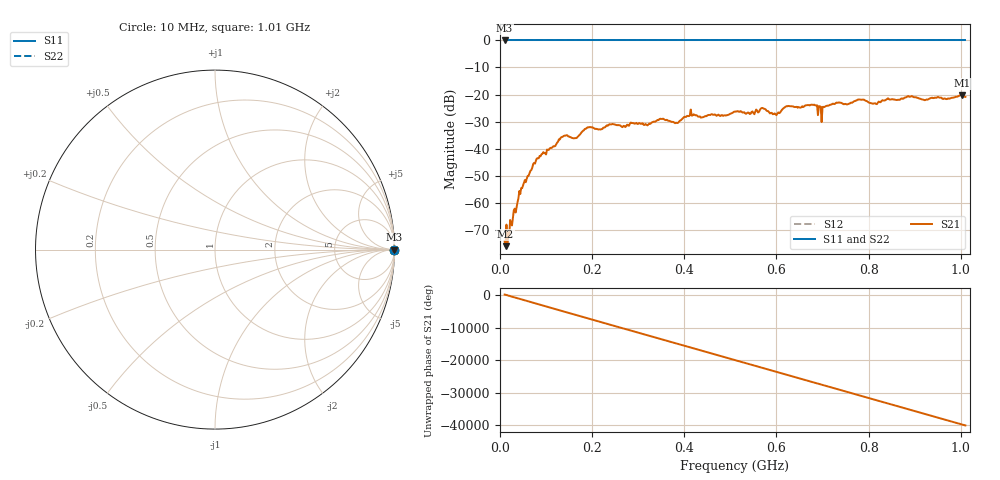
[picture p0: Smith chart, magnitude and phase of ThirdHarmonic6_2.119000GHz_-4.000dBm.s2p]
! 8/17/2025 1:19:52 AM
! C:\ANRITSUVNA\TEMP\TEMP.S2P
! CHANNEL.1
! TR.MEASUREMENT
! RAW.DATA
! RF.CORRECTION.OFF
! AVERAGING.OFF
! IF.BANDWIDTH: 5KHZ
! SWEEPTYPE:  FREQ.SWEEP(Linear)
! Reference Plane Port Info
! PORT:  PORT1  PORT2
! DISTANCE:  0  m  0  m
! TIME:  0  s  0  s
! PHASE.OFFSET:  0  deg.  0  deg.
! LOSS:  0  dB  0  dB
! REF.LOSS:  0  dB  0  dB
! REF.FREQ:  0  Hz  0  Hz
! Power Info
! POWER:  -20  dBm  -20  dBm
! EFF.POWER:  -20  dBm  -20  dBm
! SOURCE.ATTEN:  0  dB  0  dB
! TEST.ATTEN:  0  dB  0  dB
# GHZ S RI R 50.0
! FREQ.GHZ  S11RE  S11IM  S21RE  S21IM  S12RE  S12IM  S22RE  S22IM
!; PortSelection: Port_12
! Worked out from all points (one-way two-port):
!   501 points, 10 MHz to 1.01 GHz, reference 50 ohm
!   highest |S21| = -20.28 dB at 1.002 GHz (marker M1); lowest = -76.1 dB at 12 MHz (marker M2)
!   lowest |S11| = 0.0 dB at 10 MHz (marker M3)
!   |S11| at or under -10 dB: nowhere
!   |S22| runs from 0.0 to 0.0 dB; largest |S21 - S12| = 1.1
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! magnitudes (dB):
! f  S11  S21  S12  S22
! 10 MHz  0.0  -74.2  0.0  0.0
! 12 MHz  0.0  -76.1  0.0  0.0
! 20 MHz  0.0  -72.3  0.0  0.0
! 46 MHz  0.0  -54.6  0.0  0.0
! 76 MHz  0.0  -45.6  0.0  0.0
! 136 MHz  0.0  -35.6  0.0  0.0
! 164 MHz  0.0  -36.1  0.0  0.0
! 178 MHz  0.0  -33.8  0.0  0.0
! 344 MHz  0.0  -29.5  0.0  0.0
! 382 MHz  0.0  -30.4  0.0  0.0
! 416 MHz  0.0  -27.8  0.0  0.0
! 440 MHz  0.0  -28.4  0.0  0.0
! 510 MHz  0.0  -26.3  0.0  0.0
! 570 MHz  0.0  -25.0  0.0  0.0
! 596 MHz  0.0  -27.0  0.0  0.0
! 624 MHz  0.0  -24.3  0.0  0.0
! 678 MHz  0.0  -23.8  0.0  0.0
! 694 MHz  0.0  -24.4  0.0  0.0
! 732 MHz  0.0  -23.0  0.0  0.0
! 844 MHz  0.0  -21.7  0.0  0.0
! 1.002 GHz  0.0  -20.3  0.0  0.0
! 1.01 GHz  0.0  -20.9  0.0  0.0
